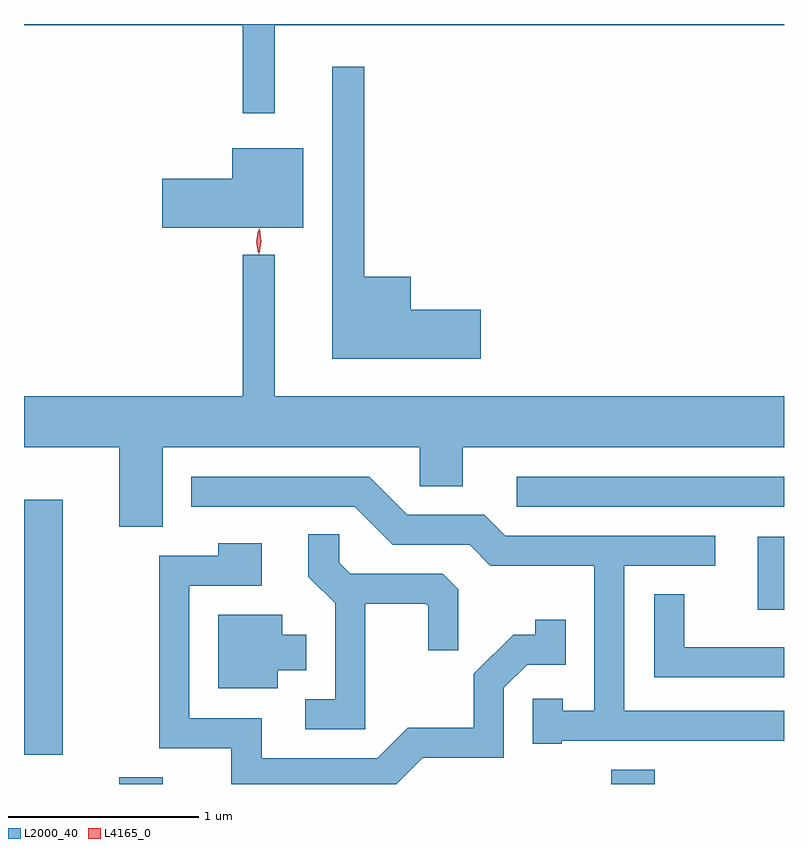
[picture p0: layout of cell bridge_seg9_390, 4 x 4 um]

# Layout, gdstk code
import gdstk
lib = gdstk.Library(unit=1e-6, precision=1e-09)
def R(c, l, rs):  # rectangles x0, y0, x1, y1
    for r in rs: c.add(gdstk.rectangle(r[:2], r[2:], *l))
def P(c, l, *ps):  # polygons
    for p in ps: c.add(gdstk.Polygon(p, *l))
L2000_40 = (2000, 40)
L4165_0 = (4165, 0)

bridge_seg9_390 = lib.new_cell('bridge_seg9_390')
R(bridge_seg9_390, L2000_40, [(623.921,2041.103,624.149,2041.139), (626.511,2041.103,626.739,2041.179), (623.419,2041.256,623.624,2042.599), (627.281,2042.021,627.419,2042.404), (626.013,2042.561,627.419,2042.719)])
P(bridge_seg9_390, L2000_40, [(624.739,2045.096),(627.419,2045.096),(627.419,2045.103),(623.419,2045.103),(623.419,2045.096),(624.571,2045.096),(624.571,2044.633),(624.739,2044.633)],
  [(625.824,2043.599),(625.454,2043.599),(625.454,2043.774),(625.209,2043.774),(625.209,2044.878),(625.041,2044.878),(625.041,2043.341),(625.824,2043.341)],
  [(624.889,2044.449),(624.516,2044.449),(624.516,2044.289),(624.146,2044.289),(624.146,2044.031),(624.889,2044.031)],
  [(624.149,2042.876),(625.501,2042.876),(625.501,2042.671),(625.729,2042.671),(625.729,2042.876),(627.419,2042.876),(627.419,2043.144),(624.739,2043.144),(624.739,2043.888),(624.571,2043.888),(624.571,2043.144),(623.419,2043.144),(623.419,2042.876),(623.921,2042.876),(623.921,2042.456),(624.149,2042.456)],
  [(626.25,2041.331),(627.419,2041.331),(627.419,2041.489),(626.579,2041.489),(626.579,2042.251),(627.058,2042.251),(627.058,2042.409),(625.952,2042.409),(625.842,2042.519),(625.437,2042.519),(625.237,2042.719),(624.298,2042.719),(624.298,2042.561),(625.159,2042.561),(625.359,2042.361),(625.764,2042.361),(625.874,2042.251),(626.421,2042.251),(626.421,2041.489),(626.254,2041.489),(626.254,2041.553),(626.096,2041.553),(626.096,2041.316),(626.25,2041.316)],
  [(625.214,2042.051),(625.534,2042.051),(625.546,2042.039),(625.546,2041.808),(625.704,2041.808),(625.704,2042.129),(625.624,2042.209),(625.137,2042.209),(625.079,2042.267),(625.079,2042.418),(624.916,2042.418),(624.916,2042.194),(625.056,2042.054),(625.056,2041.549),(624.898,2041.549),(624.898,2041.391),(625.214,2041.391)],
  [(625.517,2041.241),(625.944,2041.241),(625.944,2041.609),(626.067,2041.731),(626.269,2041.731),(626.269,2041.968),(626.111,2041.968),(626.111,2041.889),(625.994,2041.889),(625.786,2041.682),(625.786,2041.399),(625.439,2041.399),(625.279,2041.239),(624.669,2041.239),(624.669,2041.449),(624.289,2041.449),(624.289,2042.146),(624.669,2042.146),(624.669,2042.369),(624.441,2042.369),(624.441,2042.304),(624.131,2042.304),(624.131,2041.291),(624.511,2041.291),(624.511,2041.103),(625.379,2041.103)],
  [(627.419,2041.824),(626.894,2041.824),(626.894,2042.103),(626.736,2042.103),(626.736,2041.666),(627.419,2041.666)],
  [(624.754,2041.701),(624.904,2041.701),(624.904,2041.889),(624.779,2041.889),(624.779,2041.994),(624.441,2041.994),(624.441,2041.606),(624.754,2041.606)])
P(bridge_seg9_390, L4165_0, [(624.652,2043.893),(624.652,2043.894),(624.642,2043.956),(624.652,2044.019),(624.652,2044.02),(624.652,2044.019),(624.662,2043.956),(624.652,2043.894)],
  [(624.656,2043.89),(624.648,2043.958),(624.658,2044.025),(624.658,2044.026),(624.659,2044.025),(624.668,2043.958),(624.657,2043.89),(624.657,2043.89)])

lib.write_gds('bridge_seg9_390.gds')
